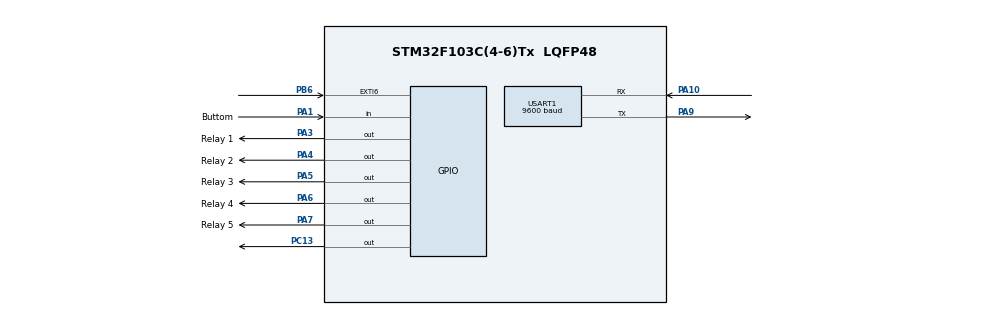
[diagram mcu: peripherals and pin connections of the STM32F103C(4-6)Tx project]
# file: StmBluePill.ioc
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Mcu.Family=STM32F1
Mcu.Name=STM32F103C(4-6)Tx
Mcu.Package=LQFP48
NVIC.EXTI9_5_IRQn=true\:1\:0\:true\:false\:true\:true\:true
NVIC.PriorityGroup=NVIC_PRIORITYGROUP_4
NVIC.USART1_IRQn=true\:0\:0\:false\:false\:true\:true\:true
PA1.GPIO_Label=Buttom
PA1.Signal=GPIO_Input
PA10.Mode=Asynchronous
PA10.Signal=USART1_RX
PA13.Mode=Serial_Wire
PA13.Signal=SYS_JTMS-SWDIO
PA14.Mode=Serial_Wire
PA14.Signal=SYS_JTCK-SWCLK
PA3.GPIO_Label=Relay 1
PA3.Signal=GPIO_Output
PA4.GPIO_Label=Relay 2
PA4.Signal=GPIO_Output
PA5.GPIO_Label=Relay 3
PA5.Signal=GPIO_Output
PA6.GPIO_Label=Relay 4
PA6.Signal=GPIO_Output
PA7.GPIO_Label=Relay 5
PA7.Signal=GPIO_Output
PA9.Mode=Asynchronous
PA9.Signal=USART1_TX
PB6.Signal=GPXTI6
PC13-TAMPER-RTC.Signal=GPIO_Output
ProjectManager.HeapSize=0x200
ProjectManager.StackSize=0x400
ProjectManager.TargetToolchain=STM32CubeIDE
RCC.APB1Freq_Value=8000000
RCC.APB2Freq_Value=8000000
USART1.BaudRate=9600
USART1.VirtualMode=VM_ASYNC
board=custom

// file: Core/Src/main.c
/* USER CODE BEGIN Header */
/**
  ******************************************************************************
  * @file           : main.c
  * @brief          : Main program body
  ******************************************************************************
  * @attention
  *
  * <h2><center>&copy; Copyright (c) 2019 STMicroelectronics.
  * All rights reserved.</center></h2>
  *
  * This software component is licensed by ST under BSD 3-Clause license,
  * the "License"; You may not use this file except in compliance with the
  * License. You may obtain a copy of the License at:
  *                        opensource.org/licenses/BSD-3-Clause
  *
  ******************************************************************************
  */
/* USER CODE END Header */

#include "main.h"

/* USER CODE BEGIN Includes */
#include "string.h"
/* USER CODE END Includes */

/* USER CODE BEGIN PM */
__IO ITStatus UartReady = RESET;
uint8_t aTxBuffer[10] = {1,2,3,4,5,6,7,8,9,10};
uint8_t aRxBuffer[RXBUFFERSIZE];

int Join_Flag = 0;
int wait_joint = 0;
int join_state_JOINED = 0;
int join_state_EVT = 0;
int Still_Connect = 0;

char* Message;
char* Lora_Port_Number = "55";
/* USER CODE END PM */

UART_HandleTypeDef huart1;

void SystemClock_Config(void);
static void MX_GPIO_Init(void);
static void MX_USART1_UART_Init(void);
/* USER CODE BEGIN PFP */
void Uart_Transmit_AT_Init();
void Send_First_Data();
void Check_Connection();
void Recive_Data();
void Wait_For_ConnectionStatus();
void Wait_For_Join();
/* USER CODE END PFP */

/* USER CODE BEGIN 0 */
//void HAL_UART_TxCpltCallback(UART_HandleTypeDef *huart){
//	printf("TX Com");
//}

/* USER CODE END 0 */

int main(void)
{
  /* USER CODE BEGIN 1 */
  Join_Flag = 0;
  /* USER CODE END 1 */

  /* MCU Configuration--------------------------------------------------------*/

  /* Reset of all peripherals, Initializes the Flash interface and the Systick. */
  HAL_Init();

  /* Configure the system clock */
  SystemClock_Config();

  /* Initialize all configured peripherals */
  MX_GPIO_Init();
  MX_USART1_UART_Init();

  /* USER CODE BEGIN 2 */

  //## Init Lora Module And send join command
  Uart_Transmit_AT_Init();

  //## We should wait for response so we khow it has been joined to Lora network
  Wait_For_Join();

  //Send 2 data so we make sure we get Lora status on first send and the second one to make sure it has been connected
  Send_First_Data();
  /* USER CODE END 2 */

  /* Infinite loop */
  /* USER CODE BEGIN WHILE */
  while (1)
  {
	//Check IF Lora is still connected or not
	Check_Connection();

	//Wait for Response of Lora if not connected it should Connect again
	Wait_For_ConnectionStatus();
    /* USER CODE END WHILE */

    /* USER CODE BEGIN 3 */
	if(HAL_GPIO_ReadPin(Buttom_GPIO_Port, Buttom_Pin) == GPIO_PIN_SET){
		HAL_GPIO_WritePin(GPIOA, Relay_1_Pin, GPIO_PIN_SET);
		HAL_GPIO_WritePin(GPIOA, Relay_2_Pin, GPIO_PIN_SET);
		HAL_GPIO_WritePin(GPIOA, Relay_3_Pin, GPIO_PIN_SET);
		HAL_GPIO_WritePin(GPIOA, Relay_4_Pin, GPIO_PIN_SET);
		HAL_GPIO_WritePin(GPIOA, Relay_5_Pin, GPIO_PIN_SET);
	}
	else{
		HAL_GPIO_WritePin(GPIOA, Relay_1_Pin, GPIO_PIN_RESET);
		HAL_GPIO_WritePin(GPIOA, Relay_2_Pin, GPIO_PIN_RESET);
		HAL_GPIO_WritePin(GPIOA, Relay_3_Pin, GPIO_PIN_RESET);
		HAL_GPIO_WritePin(GPIOA, Relay_4_Pin, GPIO_PIN_RESET);
		HAL_GPIO_WritePin(GPIOA, Relay_5_Pin, GPIO_PIN_RESET);
	}
	  //Recieve What Lora Gets from Server
	  Recive_Data();
	  //Wait for Response and Check the message

  }

  /* USER CODE END 3 */
}

void SystemClock_Config(void)
{
  RCC_OscInitTypeDef RCC_OscInitStruct = {0};
  RCC_ClkInitTypeDef RCC_ClkInitStruct = {0};

  /** Initializes the CPU, AHB and APB busses clocks
  */
  RCC_OscInitStruct.OscillatorType = RCC_OSCILLATORTYPE_HSI;
  RCC_OscInitStruct.HSIState = RCC_HSI_ON;
  RCC_OscInitStruct.HSICalibrationValue = RCC_HSICALIBRATION_DEFAULT;
  RCC_OscInitStruct.PLL.PLLState = RCC_PLL_NONE;
  if (HAL_RCC_OscConfig(&RCC_OscInitStruct) != HAL_OK)
  {
    Error_Handler();
  }
  /** Initializes the CPU, AHB and APB busses clocks
  */
  RCC_ClkInitStruct.ClockType = RCC_CLOCKTYPE_HCLK|RCC_CLOCKTYPE_SYSCLK
                              |RCC_CLOCKTYPE_PCLK1|RCC_CLOCKTYPE_PCLK2;
  RCC_ClkInitStruct.SYSCLKSource = RCC_SYSCLKSOURCE_HSI;
  RCC_ClkInitStruct.AHBCLKDivider = RCC_SYSCLK_DIV1;
  RCC_ClkInitStruct.APB1CLKDivider = RCC_HCLK_DIV1;
  RCC_ClkInitStruct.APB2CLKDivider = RCC_HCLK_DIV1;

  if (HAL_RCC_ClockConfig(&RCC_ClkInitStruct, FLASH_LATENCY_0) != HAL_OK)
  {
    Error_Handler();
  }
}

static void MX_USART1_UART_Init(void)
{

  huart1.Instance = USART1;
  huart1.Init.BaudRate = 9600;
  huart1.Init.WordLength = UART_WORDLENGTH_8B;
  huart1.Init.StopBits = UART_STOPBITS_1;
  huart1.Init.Parity = UART_PARITY_NONE;
  huart1.Init.Mode = UART_MODE_TX_RX;
  huart1.Init.HwFlowCtl = UART_HWCONTROL_NONE;
  huart1.Init.OverSampling = UART_OVERSAMPLING_16;
  if (HAL_UART_Init(&huart1) != HAL_OK)
  {
    Error_Handler();
  }

}

static void MX_GPIO_Init(void)
{
  GPIO_InitTypeDef GPIO_InitStruct = {0};

  /* GPIO Ports Clock Enable */
  __HAL_RCC_GPIOC_CLK_ENABLE();
  __HAL_RCC_GPIOA_CLK_ENABLE();
  __HAL_RCC_GPIOB_CLK_ENABLE();

  /*Configure GPIO pin Output Level */
  HAL_GPIO_WritePin(GPIOC, GPIO_PIN_13, GPIO_PIN_RESET);

  /*Configure GPIO pin Output Level */
  HAL_GPIO_WritePin(GPIOA, Relay_1_Pin|Relay_2_Pin|Relay_3_Pin|Relay_4_Pin
                          |Relay_5_Pin, GPIO_PIN_RESET);

  /*Configure GPIO pin : PC13 */
  GPIO_InitStruct.Pin = GPIO_PIN_13;
  GPIO_InitStruct.Mode = GPIO_MODE_OUTPUT_PP;
  GPIO_InitStruct.Pull = GPIO_NOPULL;
  GPIO_InitStruct.Speed = GPIO_SPEED_FREQ_LOW;
  HAL_GPIO_Init(GPIOC, &GPIO_InitStruct);

  /*Configure GPIO pin : Buttom_Pin */
  GPIO_InitStruct.Pin = Buttom_Pin;
  GPIO_InitStruct.Mode = GPIO_MODE_INPUT;
  GPIO_InitStruct.Pull = GPIO_NOPULL;
  HAL_GPIO_Init(Buttom_GPIO_Port, &GPIO_InitStruct);

  /*Configure GPIO pins : Relay_1_Pin Relay_2_Pin Relay_3_Pin Relay_4_Pin
                           Relay_5_Pin */
  GPIO_InitStruct.Pin = Relay_1_Pin|Relay_2_Pin|Relay_3_Pin|Relay_4_Pin
                          |Relay_5_Pin;
  GPIO_InitStruct.Mode = GPIO_MODE_OUTPUT_PP;
  GPIO_InitStruct.Pull = GPIO_NOPULL;
  GPIO_InitStruct.Speed = GPIO_SPEED_FREQ_LOW;
  HAL_GPIO_Init(GPIOA, &GPIO_InitStruct);

  /*Configure GPIO pin : PB6 */
  GPIO_InitStruct.Pin = GPIO_PIN_6;
  GPIO_InitStruct.Mode = GPIO_MODE_IT_RISING;
  GPIO_InitStruct.Pull = GPIO_NOPULL;
  HAL_GPIO_Init(GPIOB, &GPIO_InitStruct);

  /* EXTI interrupt init*/
  HAL_NVIC_SetPriority(EXTI9_5_IRQn, 1, 0);
  HAL_NVIC_EnableIRQ(EXTI9_5_IRQn);

}

/* USER CODE BEGIN 4 */
void Uart_Transmit_AT_Init(){
	HAL_UART_Transmit(&huart1,(uint8_t *)("ATZ\r\n"), strlen("ATZ\r\n"), 1000);
	HAL_Delay(2000);
	HAL_UART_Transmit(&huart1,(uint8_t *)("AT+VER=?\r\n"), strlen("AT+VER=?\r"), 1000);
	HAL_Delay(2000);
	HAL_UART_Transmit(&huart1,(uint8_t *)("AT\r\n"), strlen("AT\r\n"), 1000);
	HAL_Delay(2000);
	HAL_UART_Transmit(&huart1,(uint8_t *)("AT+DR=0\r\n"), strlen("AT+DR=0\r\n"), 1000);
	HAL_Delay(2000);
	HAL_UART_Transmit(&huart1,(uint8_t *)("AT\r\n"), strlen("AT\r\n"), 1000);
	HAL_Delay(2000);
	HAL_UART_Transmit(&huart1,(uint8_t *)("AT+CLASS=CLASSC\r\n"), strlen("AT+CLASS=CLASSC\r\n"), 1000);
	HAL_Delay(2000);
	HAL_UART_Transmit(&huart1,(uint8_t *)("AT\r\n"), strlen("AT\r\n"), 1000);
	HAL_Delay(2000);
	HAL_UART_Transmit(&huart1,(uint8_t *)("AT+JOIN\r\n"), strlen("AT+JOIN\r\n"), 1000);
	HAL_Delay(2000);
	wait_joint = 1;
}

void Wait_For_Join(){

	  char* Join_Message = "JOINED";
	  /*##-1- Put UART peripheral in reception process ###########################*/

	  //Wait for JOINED from Lora
	  if(HAL_UART_Receive_IT(&huart1, (uint8_t *)aRxBuffer, RXBUFFERSIZE) != HAL_OK)
	  {
	    Error_Handler();
	  }

	  /*##-2- Wait for the end of the Receive ###################################*/
	  /* While waiting for message to come from the other board, LED1 is
	     blinking according to the following pattern: a double flash every half-second */
	  while (UartReady != SET)
	  {
		  HAL_GPIO_TogglePin(GPIOC, GPIO_PIN_13);
	      HAL_Delay(100);
	  	  HAL_GPIO_TogglePin(GPIOC, GPIO_PIN_13);
	      HAL_Delay(100);
	  	  HAL_GPIO_TogglePin(GPIOC, GPIO_PIN_13);
	      HAL_Delay(100);
	  	  HAL_GPIO_TogglePin(GPIOC, GPIO_PIN_13);
	      HAL_Delay(500);
	  }

	  /* Reset reception flag */
	  UartReady = RESET;

	  if((char *)aRxBuffer == Join_Message){
		  Join_Flag = 1;
	  }
}

void Wait_For_ConnectionStatus(){
	  char* Join_Message = "JOINED";
	  char* Status_Message = "1";
	  Still_Connect = 0;
	  /*##-1- Put UART peripheral in reception process ###########################*/

	  //Wait for JOINED from Lora
	  if(HAL_UART_Receive_IT(&huart1, (uint8_t *)aRxBuffer, RXBUFFERSIZE) != HAL_OK)
	  {
	    Error_Handler();
	  }

	  /*##-2- Wait for the end of the Receive ###################################*/
	  /* While waiting for message to come from the other board, LED1 is
	     blinking according to the following pattern: a double flash every half-second */
	  while (UartReady != SET)
	  {
		  HAL_GPIO_TogglePin(GPIOC, GPIO_PIN_13);
	      HAL_Delay(100);
	  	  HAL_GPIO_TogglePin(GPIOC, GPIO_PIN_13);
	      HAL_Delay(100);
	  	  HAL_GPIO_TogglePin(GPIOC, GPIO_PIN_13);
	      HAL_Delay(100);
	  	  HAL_GPIO_TogglePin(GPIOC, GPIO_PIN_13);
	      HAL_Delay(500);
	  }

	  /* Reset reception flag */
	  UartReady = RESET;

	  if((char *)aRxBuffer == Status_Message){
		  Still_Connect = 1;
	  }
	  else {
		  if(HAL_UART_Receive_IT(&huart1, (uint8_t *)aRxBuffer, RXBUFFERSIZE) != HAL_OK)
		  	  {
		  	    Error_Handler();
		  	  }

		  	  /*##-2- Wait for the end of the Receive ###################################*/
		  	  /* While waiting for message to come from the other board, LED1 is
		  	     blinking according to the following pattern: a double flash every half-second */
		  	  while (UartReady != SET)
		  	  {
		  		  HAL_GPIO_TogglePin(GPIOC, GPIO_PIN_13);
		  	      HAL_Delay(100);
		  	  	  HAL_GPIO_TogglePin(GPIOC, GPIO_PIN_13);
		  	      HAL_Delay(100);
		  	  	  HAL_GPIO_TogglePin(GPIOC, GPIO_PIN_13);
		  	      HAL_Delay(100);
		  	  	  HAL_GPIO_TogglePin(GPIOC, GPIO_PIN_13);
		  	      HAL_Delay(500);
		  	  }

		  	  /* Reset reception flag */
		  	  UartReady = RESET;

		  	  if((char *)aRxBuffer == Join_Message){
		  		  Join_Flag = 1;
		  		  Still_Connect = 1;
		  	  }
	  }
}

void Check_Connection(){ //Check Connection Status
	HAL_UART_Transmit(&huart1,(uint8_t *)("AT\r\n"), strlen("AT\r\n"), 1000);
	HAL_Delay(200);
	HAL_UART_Transmit(&huart1,(uint8_t *)("AT+NJS=?\r\n"), strlen("AT+NJS=?\r\n"), 1000);
	HAL_Delay(2000);

}

void Send_First_Data(){ //First data for getting status and Connection
	HAL_UART_Transmit(&huart1,(uint8_t *)("AT\r\n"), strlen("AT\r\n"), 1000);
	HAL_Delay(200);
	HAL_UART_Transmit(&huart1,(uint8_t *)("AT+SEND=55:Status\r\n"), strlen("AT+SEND=55:SALAM\r\n"), 1000);
	HAL_Delay(5000);
	HAL_UART_Transmit(&huart1,(uint8_t *)("AT\r\n"), strlen("AT\r\n"), 1000);
	HAL_Delay(200);
	HAL_UART_Transmit(&huart1,(uint8_t *)("AT+SEND=55:AmConnected\r\n"), strlen("AT+SEND=55:SALAM\r\n"), 1000);
	HAL_Delay(5000);
}

void Recive_Data(){ //For reciveint data from lora
	HAL_UART_Transmit(&huart1,(uint8_t *)("AT+RECV=?\r\n"), strlen("AT+RECV=?\r\n"), 1000);
	HAL_Delay(2000);

	  /*##-1- Put UART peripheral in reception process ###########################*/

	  //Wait for JOINED from Lora
	  if(HAL_UART_Receive_IT(&huart1, (uint8_t *)aRxBuffer, RXBUFFERSIZE) != HAL_OK)
	  {
	    Error_Handler();
	  }

	  /*##-2- Wait for the end of the Receive ###################################*/
	  /* While waiting for message to come from the other board, LED1 is
	     blinking according to the following pattern: a double flash every half-second */
	  while (UartReady != SET)
	  {
		  HAL_GPIO_TogglePin(GPIOC, GPIO_PIN_13);
	      HAL_Delay(100);
	  	  HAL_GPIO_TogglePin(GPIOC, GPIO_PIN_13);
	      HAL_Delay(100);
	  	  HAL_GPIO_TogglePin(GPIOC, GPIO_PIN_13);
	      HAL_Delay(100);
	  	  HAL_GPIO_TogglePin(GPIOC, GPIO_PIN_13);
	      HAL_Delay(500);
	  }

	  /* Reset reception flag */
	  UartReady = RESET;

	  if((char *)aRxBuffer == Lora_Port_Number){
		  __NOP();
	  }
	  else {
		  Message = (char *)aRxBuffer;
	  }

}

void USART1_IRQHandler(void)
{
//  /* USER CODE BEGIN USART1_IRQn 0 */
//
//  /* USER CODE END USART1_IRQn 0 */
//  HAL_UART_IRQHandler(&huart1);
//  /* USER CODE BEGIN USART1_IRQn 1 */
//
//  /*****************************************************/
//	if(aRxBuffer == 'J' && join_state_JOINED == 0 && wait_joint == 1){
//		join_state_JOINED = 1;
//	}
//	else if(aRxBuffer == 'O' && join_state_JOINED == 1 && wait_joint == 1){
//		join_state_JOINED = 2;
//	}
//	else if(aRxBuffer == 'I' && join_state_JOINED == 2 && wait_joint == 1){
//		join_state_JOINED = 3;
//	}
//	else if(aRxBuffer == 'N' && join_state_JOINED == 3 && wait_joint == 1){
//		join_state_JOINED = 4;
//	}
//	else if(aRxBuffer == 'E' && join_state_JOINED == 4 && wait_joint == 1){
//		join_state_JOINED = 5;
//    }
//	else if(aRxBuffer == 'D' && join_state_JOINED == 5 && wait_joint == 1){
//		join_state_JOINED = 0;
//		Join_Flag = 1;
//    }
//	else if(wait_joint == 1){
//		join_state_JOINED = 0;
//	}
//  /*****************************************************/
//	if(aRxBuffer == '1\r' && Still_Connect == 0){
//		Still_Connect = 1;
//	}
//  /*****************************************************/
//	if(aRxBuffer == '+' && join_state_EVT == 0){
//		join_state_EVT = 1;
//	}
//	else if(aRxBuffer == 'E' && join_state_EVT == 1){
//		join_state_EVT = 2;
//	}
//	else if(aRxBuffer == 'V' && join_state_EVT == 2){
//		join_state_EVT = 3;
//	}
//	else if(aRxBuffer == 'T' && join_state_EVT == 3){
//		join_state_EVT = 4;
//	}
//	else if(aRxBuffer == ':' && join_state_EVT == 4){
//		join_state_EVT = 5;
//    }
//	else if(aRxBuffer == 'D' && join_state_EVT == 5){
//		join_state_EVT = 6;
//    }
//	else if(wait_joint == 1){
//		join_state_JOINED = 0;
//	}
//
////	HAL_GPIO_TogglePin(GPIOC, GPIO_PIN_13);
//  /* USER CODE END USART1_IRQn 1 */
}

/********************************************************************/
void HAL_UART_RxCpltCallback(UART_HandleTypeDef *huart){
	//Set UartReady
	UartReady = SET;
	HAL_GPIO_TogglePin(GPIOC, GPIO_PIN_13);
}
/* USER CODE END 4 */

void Error_Handler(void)
{
  /* USER CODE BEGIN Error_Handler_Debug */
  /* User can add his own implementation to report the HAL error return state */
	while(1){
		HAL_GPIO_TogglePin(GPIOC, GPIO_PIN_13);
		HAL_Delay(2000);
	}
  /* USER CODE END Error_Handler_Debug */
}

/************************ (C) COPYRIGHT STMicroelectronics *****END OF FILE****/
